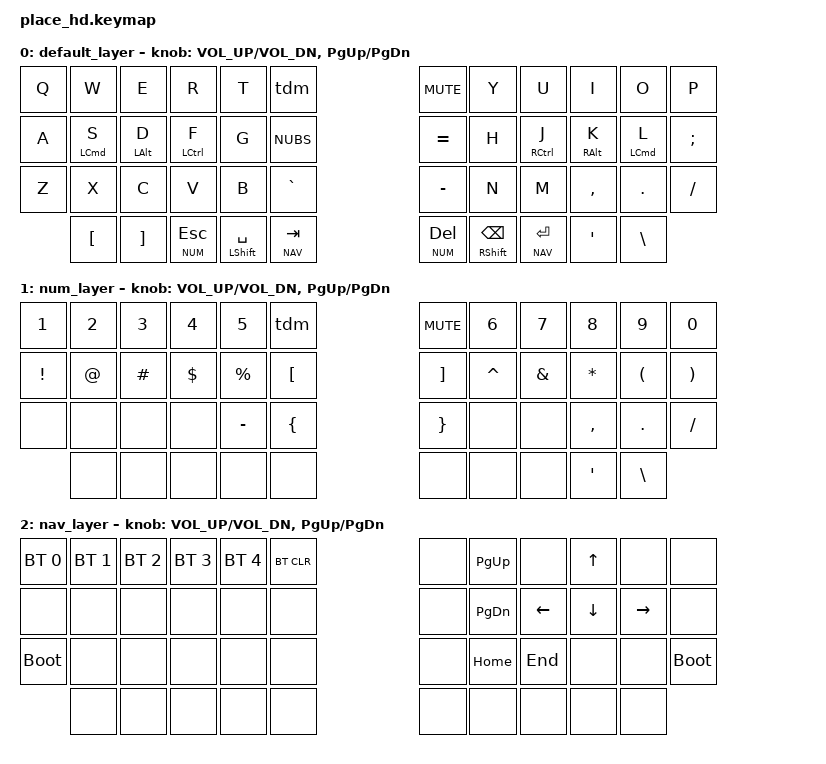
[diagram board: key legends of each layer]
/*
 * Copyright (c) 2020 The ZMK Contributors
 *
 * SPDX-License-Identifier: MIT
 */

#include <behaviors.dtsi>
#include <dt-bindings/zmk/keys.h>
#include <dt-bindings/zmk/bt.h>

#define DEFAULT 0
#define NUM 	1
#define NAV 	2

&mt {
    tapping-term-ms = <200>;
	quick-tap-ms = <200>;
};
&lt {
    tapping-term-ms = <200>;
	quick-tap-ms = <200>;
};

/ {
	behaviors {
		tdm: tap_dance_media {
            compatible = "zmk,behavior-tap-dance";
            label = "TAP_DANCE_MEDIA";
            #binding-cells = <0>;
            tapping-term-ms = <250>;
            bindings = <&kp C_PP>, <&kp C_NEXT>, <&kp C_PREV>;
        };
    };

	keymap {
		compatible = "zmk,keymap";

		default_layer {
// ---------------------------------------------------------------------------------------------------------------------------------
// |  Q  |  W  		|  E  	|  R  	|  T  		|  Play/Pause 		|                      		| Mute   		| Y   | U		|  I    	| O			| P |
// |  A  | S(CMD)	| D(ALT)|F(CTRL)|  G  		|  §		 		|                      		| =      		| H   | J(CTRL)	|  K(ALT)	| L(CMD) 	| ; |
// |  Z  |  X  		|  C  	|  V  	|  B  		|  `   		 		|							| - 			| N   | M		|  ,    	| . 		| / |
//       |  [  		|  ]  	|	  	| ESC(NAV) 	|  SPACE(LSHIFT)	| TAB(NAV)	|  | DEL(NUM)	| BSPC(RSHIFT)	| RET |			|  '		| \			|
			bindings = <
	&kp Q 	&kp W 		&kp E 		&kp R 			&kp T 		&tdm     	  										&kp K_MUTE 			&kp Y 			&kp U  			&kp I     	&kp O   	&kp P    
	&kp A 	&mt LCMD S	&mt LALT D	&mt LCTRL F		&kp G 		&kp NUBS         	  								&kp EQUAL			&kp H 			&mt RCTRL J		&mt RALT K	&mt LCMD L	&kp SEMI
	&kp Z 	&kp X 		&kp C 		&kp V 			&kp B 		&kp GRAVE 											&kp MINUS 			&kp N 			&kp M  			&kp COMMA 	&kp DOT 	&kp FSLH 
	      	&kp LBKT	&kp RBKT					&lt NUM ESC	&mt LSHIFT SPACE	&lt NAV TAB   	&lt NUM DEL 	&mt RSHIFT BSPC 	&lt NAV RETURN					&kp APOS	&kp BSLH
			>;


			sensor-bindings = <&inc_dec_kp C_VOL_UP C_VOL_DN &inc_dec_kp PG_UP PG_DN>;
		};

		num_layer {
// ---------------------------------------------------------------------------------------------------------------------------------
// |  1  |  2  |  3  |  4  |  5   |  Play/Pause 	|                      	|  Mute   		|  6   |  7    	|  8    |  9   |   0   |
// |  !  |  @  |  #  |  $  |  %   |  [				|                      	|  ]      		|  ^   |  & 	|  *    |  (   |   )   |
// |     |     |     |     |  -   |  {   		  	|						| }				|      |  		|       |      |       |
//       |     | 	 |	   |   	  |   				|       |  	   |       	|     			|      |		|   	|  	   |
			bindings = <
	&kp N1 		&kp N2 	&kp N3 		&kp N4 		&kp N5 		&tdm     	  									&kp K_MUTE 			&kp N6 		&kp N7  	&kp N8     	&kp N9   	&kp N0    
	&kp EXCL 	&kp AT	&kp HASH 	&kp DLLR 	&kp PERCENT &kp LEFT_BRACKET								&kp RIGHT_BRACKET	&kp CARET	&kp AMPS	&kp ASTRK	&kp LPAR  	&kp RPAR     
	&none 		&none 	&none 		&none 		&kp MINUS 	&kp LEFT_BRACE									&kp RIGHT_BRACE 	&none		&none 		&kp COMMA 	&kp DOT 	&kp FSLH 
	      		&none 	&none       			&none 		&none				&none   		&none 		&none 				&none					&kp APOS	&kp BSLH
			>;

			sensor-bindings = <&inc_dec_kp C_VOL_UP C_VOL_DN &inc_dec_kp PG_UP PG_DN>;
		};
	
		nav_layer {
// ---------------------------------------------------------------------------------------------------------------------------------
// |     |     |     |     |      |              	|                      	|    			| PG_UP |       	| UP    |       |       |
// |     |     |     |     |      |   				|                      	|         		| PG_DN | LEFT	| DOWN  | RIGHT |       |
// |     |     |     |     |      |      		  	|						|  				| HOME  | END	|       |       |       |
//       |     | 	 |	   |   	  |   				|          |  |        	|     			|       |		|   	|  	    |
			bindings = <
	&bt BT_SEL 0	&bt BT_SEL 1 	&bt BT_SEL	2	&bt BT_SEL 3 	&bt BT_SEL 4  	&bt BT_CLR  							&none 	&kp PG_UP 	&none  		&kp UP   	&none  		&none    
	&none			&none			&none 			&none 			&none 			&none									&none	&kp PG_DN	&kp LEFT	&kp DOWN	&kp RIGHT  	&none     
	&bootloader		&none 			&none 			&none 			&none 			&none									&none 	&kp HOME	&kp END 	&none 		&none		&bootloader 
	      			&none 			&none       					&none 			&none		&none   		&none 		&none 	&none					&none  		&none
			>;

			sensor-bindings = <&inc_dec_kp C_VOL_UP C_VOL_DN &inc_dec_kp PG_UP PG_DN>;
		};

	};
};
